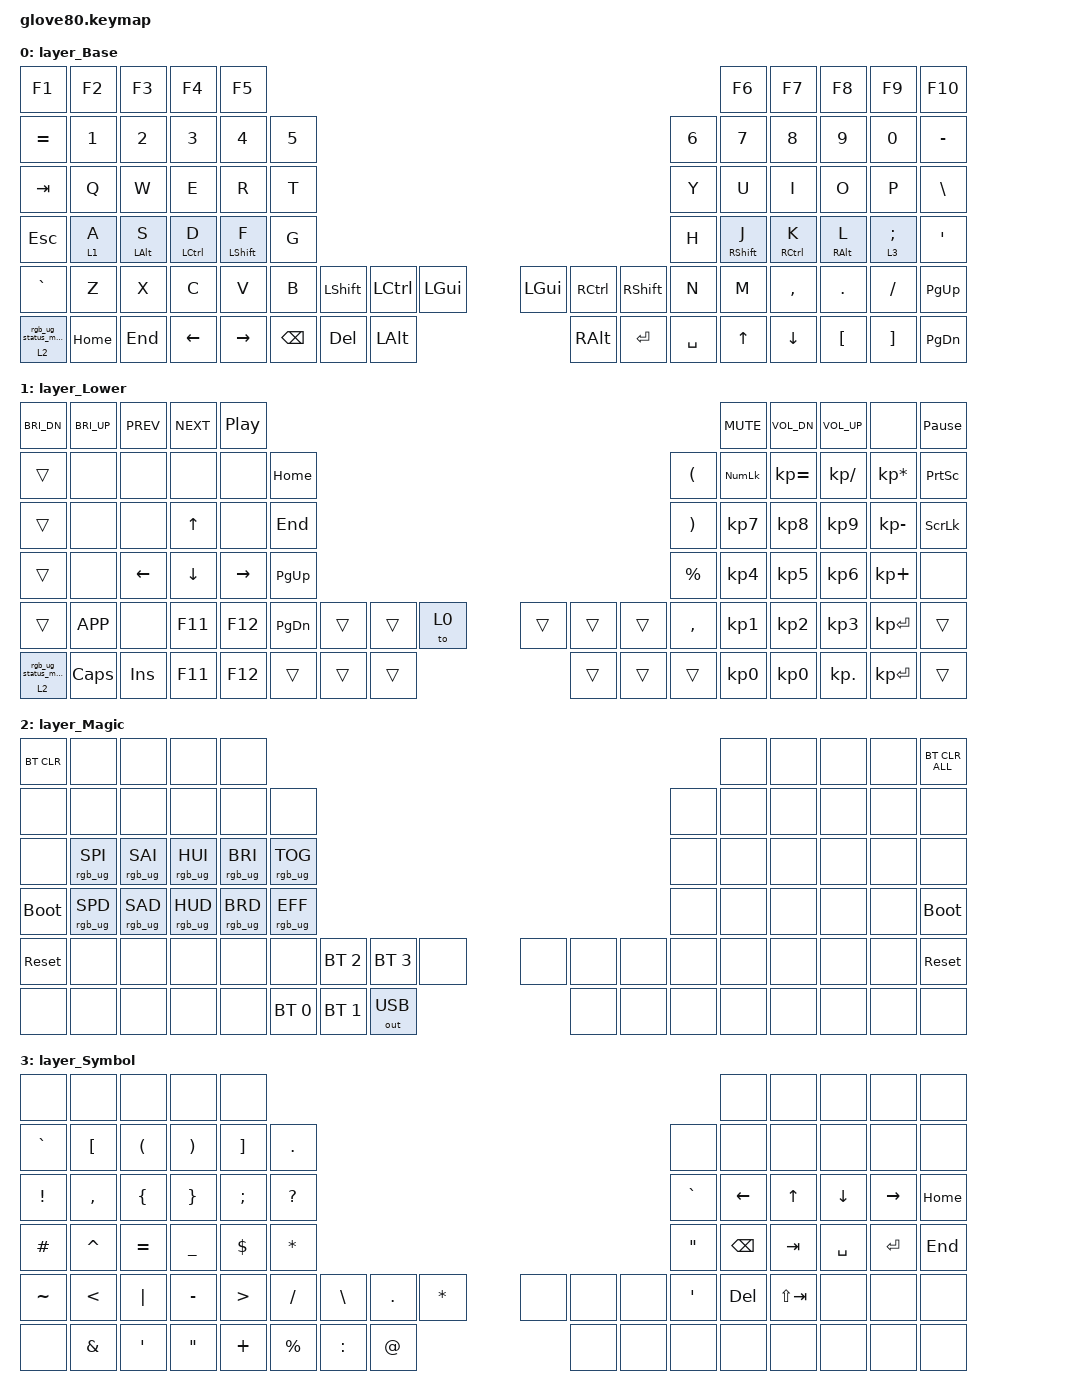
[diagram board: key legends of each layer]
/*
 * Copyright (c) 2020 The ZMK Contributors
 *
 * SPDX-License-Identifier: MIT
 */

#include <behaviors.dtsi>
#include <dt-bindings/zmk/keys.h>
#include <dt-bindings/zmk/bt.h>
#include <dt-bindings/zmk/rgb.h>
#include <dt-bindings/zmk/outputs.h>

#define LAYER_Base 0
#define LAYER_Lower 1
#define LAYER_Magic 2
#define LAYER_Symbol 3

/ {
    // Magic hold-tap behavior for accessing magic layer
    magic: magic {
        compatible = "zmk,behavior-hold-tap";
        label = "MAGIC_HOLD_TAP";
        #binding-cells = <2>;
        flavor = "tap-preferred";
        tapping-term-ms = <200>;
        bindings = <&mo>, <&rgb_ug_status_macro>;
    };

    macros {
        /* Glove80 system */

        rgb_ug_status_macro: rgb_ug_status_macro {
            label = "RGB_UG_STATUS";
            compatible = "zmk,behavior-macro";
            #binding-cells = <0>;
            bindings = <&rgb_ug RGB_STATUS>;
        };

        bt_0: bt_0 {
            label = "BT_0";
            compatible = "zmk,behavior-macro";
            #binding-cells = <0>;
            bindings = <&out OUT_BLE &bt BT_SEL 0>;
        };

        bt_1: bt_1 {
            label = "BT_1";
            compatible = "zmk,behavior-macro";
            #binding-cells = <0>;
            bindings = <&out OUT_BLE &bt BT_SEL 1>;
        };

        bt_2: bt_2 {
            label = "BT_2";
            compatible = "zmk,behavior-macro";
            #binding-cells = <0>;
            bindings = <&out OUT_BLE &bt BT_SEL 2>;
        };

        bt_3: bt_3 {
            label = "BT_3";
            compatible = "zmk,behavior-macro";
            #binding-cells = <0>;
            bindings = <&out OUT_BLE &bt BT_SEL 3>;
        };
    };

    combos {
        compatible = "zmk,combos";

        // Left hand: D+F for Ctrl+Shift (terminal paste, etc)
        combo_ctrl_shift_left {
            timeout-ms = <50>;
            key-positions = <37 38>;  // D and F
            bindings = <&sk LCTRL &sk LSHFT>;
            layers = <0>;  // Only active on base layer
        };

        // Right hand: J+K for Ctrl+Shift (terminal copy, etc)
        combo_ctrl_shift_right {
            timeout-ms = <50>;
            key-positions = <41 42>;  // J and K
            bindings = <&sk RCTRL &sk RSHFT>;
            layers = <0>;  // Only active on base layer
        };
    };

    behaviors  {

        // Home row mods - Left hand (including A for layer)
        hml: homerow_mods_left {
            compatible = "zmk,behavior-hold-tap";
            label = "HOMEROW_MODS_LEFT";
            #binding-cells = <2>;
            flavor = "balanced";
            tapping-term-ms = <280>;
            quick-tap-ms = <175>;
            require-prior-idle-ms = <150>;
            bindings = <&mo>, <&kp>;  // Note: using &mo for layers
            hold-trigger-key-positions = <
                5 6 7 8 9
                16 17 18 19 20 21
                28 29 30 31 32 33
                40 41 42 43 44 45
                58 59 60 61 62 63
                75 76 77 78 79
                55 56 57
                72 73 74
            >;
        };

        // Home row mods - Left hand mods only (S, D, F)
        hml_mod: homerow_mods_left_mod {
            compatible = "zmk,behavior-hold-tap";
            label = "HOMEROW_MODS_LEFT_MOD";
            #binding-cells = <2>;
            flavor = "balanced";
            tapping-term-ms = <280>;
            quick-tap-ms = <175>;
            require-prior-idle-ms = <150>;
            bindings = <&kp>, <&kp>;  // Using &kp for modifiers
            hold-trigger-key-positions = <
                5 6 7 8 9
                16 17 18 19 20 21
                28 29 30 31 32 33
                40 41 42 43 44 45
                58 59 60 61 62 63
                75 76 77 78 79
                55 56 57
                72 73 74
            >;
        };

        // Home row mods - Right hand (including ; for layer)
        hmr: homerow_mods_right {
            compatible = "zmk,behavior-hold-tap";
            label = "HOMEROW_MODS_RIGHT";
            #binding-cells = <2>;
            flavor = "balanced";
            tapping-term-ms = <280>;
            quick-tap-ms = <175>;
            require-prior-idle-ms = <150>;
            bindings = <&mo>, <&kp>;  // Note: using &mo for layers
            hold-trigger-key-positions = <
                0 1 2 3 4
                10 11 12 13 14 15
                22 23 24 25 26 27
                34 35 36 37 38 39
                46 47 48 49 50 51
                64 65 66 67 68
                52 53 54
                69 70 71
            >;
        };

        // Home row mods - Right hand mods only (J, K, L)
        hmr_mod: homerow_mods_right_mod {
            compatible = "zmk,behavior-hold-tap";
            label = "HOMEROW_MODS_RIGHT_MOD";
            #binding-cells = <2>;
            flavor = "balanced";
            tapping-term-ms = <280>;
            quick-tap-ms = <175>;
            require-prior-idle-ms = <150>;
            bindings = <&kp>, <&kp>;  // Using &kp for modifiers
            hold-trigger-key-positions = <
                0 1 2 3 4
                10 11 12 13 14 15
                22 23 24 25 26 27
                34 35 36 37 38 39
                46 47 48 49 50 51
                64 65 66 67 68
                52 53 54
                69 70 71
            >;
        };
    };

    keymap {
        compatible = "zmk,keymap";

        layer_Base {
            bindings = <
               &kp F1    &kp F2   &kp F3    &kp F4     &kp F5                                                                                        &kp F6        &kp F7       &kp F8      &kp F9    &kp F10
            &kp EQUAL    &kp N1   &kp N2    &kp N3     &kp N4  &kp N5                                                                        &kp N6  &kp N7        &kp N8       &kp N9      &kp N0  &kp MINUS
              &kp TAB     &kp Q    &kp W     &kp E      &kp R   &kp T                                                                         &kp Y   &kp U         &kp I        &kp O       &kp P   &kp BSLH
              &kp ESC     &hml 1 A  &hml_mod LALT S  &hml_mod LCTRL D  &hml_mod LSHFT F   &kp G                                                                         &kp H  &hmr_mod RSHFT J  &hmr_mod RCTRL K  &hmr_mod RALT L     &hmr 3 SEMI    &kp SQT
            &kp GRAVE     &kp Z    &kp X     &kp C      &kp V   &kp B   &kp LSHFT  &kp LCTRL  &kp LGUI  &kp LGUI  &kp RCTRL    &kp RSHFT   &kp N   &kp M  &kp COMMA   &kp DOT  &kp FSLH  &kp PG_UP
         &magic 2 0  &kp HOME  &kp END  &kp LEFT  &kp RIGHT          &kp BSPC    &kp DEL  &kp LALT  &kp RALT    &kp RET    &kp SPACE          &kp UP   &kp DOWN  &kp LBKT  &kp RBKT  &kp PG_DN
            >;
        };

        layer_Lower {
            bindings = <
         &kp C_BRI_DN  &kp C_BRI_UP      &kp C_PREV      &kp C_NEXT         &kp C_PP                                                                                    &kp C_MUTE  &kp C_VOL_DN  &kp C_VOL_UP            &none  &kp PAUSE_BREAK
               &trans         &none           &none           &none            &none   &kp HOME                                                   &kp LPAR  &kp KP_NUM  &kp KP_EQUAL  &kp KP_SLASH  &kp KP_MULTIPLY  &kp PSCRN
               &trans         &none           &none    &kp UP_ARROW            &none    &kp END                                                   &kp RPAR   &kp KP_N7     &kp KP_N8     &kp KP_N9     &kp KP_MINUS   &kp SLCK
               &trans         &none  &kp LEFT_ARROW  &kp DOWN_ARROW  &kp RIGHT_ARROW  &kp PG_UP                                                   &kp PRCNT   &kp KP_N4     &kp KP_N5     &kp KP_N6      &kp KP_PLUS            &none
               &trans     &kp K_APP           &none         &kp F11          &kp F12  &kp PG_DN  &trans  &trans   &to 0  &trans  &trans  &trans  &kp COMMA   &kp KP_N1     &kp KP_N2     &kp KP_N3     &kp KP_ENTER           &trans
         &magic 2 0  &kp CAPS         &kp INS         &kp F11          &kp F12             &trans  &trans  &trans  &trans  &trans  &trans              &kp KP_N0     &kp KP_N0    &kp KP_DOT     &kp KP_ENTER           &trans
            >;
        };

        layer_Magic {
            bindings = <
  &bt BT_CLR            &none            &none            &none            &none                                                                                  &none   &none   &none   &none  &bt BT_CLR_ALL
       &none            &none            &none            &none            &none            &none                                                         &none   &none   &none   &none   &none           &none
       &none  &rgb_ug RGB_SPI  &rgb_ug RGB_SAI  &rgb_ug RGB_HUI  &rgb_ug RGB_BRI  &rgb_ug RGB_TOG                                                         &none   &none   &none   &none   &none           &none
 &bootloader  &rgb_ug RGB_SPD  &rgb_ug RGB_SAD  &rgb_ug RGB_HUD  &rgb_ug RGB_BRD  &rgb_ug RGB_EFF                                                         &none   &none   &none   &none   &none     &bootloader
  &sys_reset            &none            &none            &none            &none            &none   &bt BT_SEL 2   &bt BT_SEL 3         &none   &none   &none   &none   &none   &none   &none   &none   &none      &sys_reset
       &none            &none            &none            &none            &none                    &bt BT_SEL 0   &bt BT_SEL 1  &out OUT_USB   &none   &none   &none           &none   &none   &none   &none           &none
            >;
        };

        layer_Symbol {
            bindings = <
     &none      &none      &none      &none     &none                                                                                   &none        &none      &none      &none     &none
 &kp GRAVE   &kp LBKT   &kp LPAR   &kp RPAR  &kp RBKT    &kp DOT                                                              &none     &none        &none      &none      &none     &none
  &kp EXCL  &kp COMMA   &kp LBRC   &kp RBRC  &kp SEMI  &kp QMARK                                                          &kp GRAVE  &kp LEFT       &kp UP   &kp DOWN  &kp RIGHT  &kp HOME
  &kp HASH  &kp CARET  &kp EQUAL  &kp UNDER  &kp DLLR   &kp STAR                                                            &kp DQT  &kp BSPC      &kp TAB  &kp SPACE    &kp RET   &kp END
 &kp TILDE     &kp LT   &kp PIPE  &kp MINUS    &kp GT   &kp FSLH   &kp BSLH    &kp DOT  &kp STAR   &none   &none   &none    &kp SQT   &kp DEL  &kp LS(TAB)      &none      &none     &none
     &none   &kp AMPS    &kp SQT    &kp DQT  &kp PLUS             &kp PRCNT  &kp COLON    &kp AT   &none   &none   &none                &none        &none      &none      &none     &none
            >;
        };
    };
};
